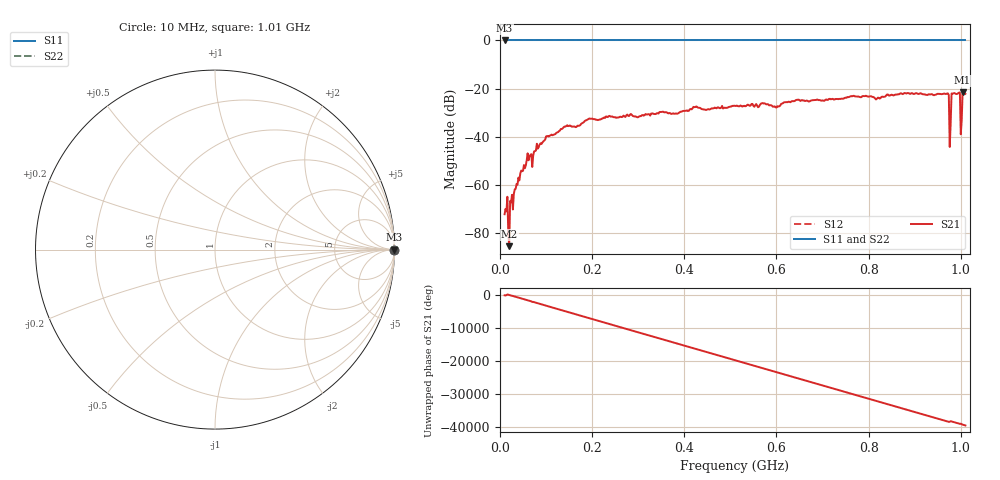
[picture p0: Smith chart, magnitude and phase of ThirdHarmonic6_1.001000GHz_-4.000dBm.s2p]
! 8/16/2025 8:04:48 AM
! C:\ANRITSUVNA\TEMP\TEMP.S2P
! CHANNEL.1
! TR.MEASUREMENT
! RAW.DATA
! RF.CORRECTION.OFF
! AVERAGING.OFF
! IF.BANDWIDTH: 5KHZ
! SWEEPTYPE:  FREQ.SWEEP(Linear)
! Reference Plane Port Info
! PORT:  PORT1  PORT2
! DISTANCE:  0  m  0  m
! TIME:  0  s  0  s
! PHASE.OFFSET:  0  deg.  0  deg.
! LOSS:  0  dB  0  dB
! REF.LOSS:  0  dB  0  dB
! REF.FREQ:  0  Hz  0  Hz
! Power Info
! POWER:  -20  dBm  -20  dBm
! EFF.POWER:  -20  dBm  -20  dBm
! SOURCE.ATTEN:  0  dB  0  dB
! TEST.ATTEN:  0  dB  0  dB
# GHZ S RI R 50.0
! FREQ.GHZ  S11RE  S11IM  S21RE  S21IM  S12RE  S12IM  S22RE  S22IM
!; PortSelection: Port_12
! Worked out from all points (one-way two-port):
!   501 points, 10 MHz to 1.01 GHz, reference 50 ohm
!   highest |S21| = -21.54 dB at 1.004 GHz (marker M1); lowest = -85.3 dB at 20 MHz (marker M2)
!   lowest |S11| = 0.0 dB at 10 MHz (marker M3)
!   |S11| at or under -10 dB: nowhere
!   |S22| runs from 0.0 to 0.0 dB; largest |S21 - S12| = 1.1
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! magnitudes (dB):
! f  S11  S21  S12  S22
! 10 MHz  0.0  -72.1  0.0  0.0
! 20 MHz  0.0  -85.3  0.0  0.0
! 36 MHz  0.0  -59.5  0.0  0.0
! 64 MHz  0.0  -48.1  0.0  0.0
! 74 MHz  0.0  -46.0  0.0  0.0
! 104 MHz  0.0  -39.6  0.0  0.0
! 178 MHz  0.0  -34.3  0.0  0.0
! 344 MHz  0.0  -30.3  0.0  0.0
! 510 MHz  0.0  -27.2  0.0  0.0
! 678 MHz  0.0  -24.8  0.0  0.0
! 844 MHz  0.0  -22.9  0.0  0.0
! 968 MHz  0.0  -22.2  0.0  0.0
! 970 MHz  0.0  -22.0  0.0  0.0
! 974 MHz  0.0  -22.6  0.0  0.0
! 978 MHz  0.0  -34.7  0.0  0.0
! 980 MHz  0.0  -22.0  0.0  0.0
! 984 MHz  0.0  -21.9  0.0  0.0
! 994 MHz  0.0  -21.9  0.0  0.0
! 998 MHz  0.0  -21.6  0.0  0.0
! 1.004 GHz  0.0  -21.5  0.0  0.0
! 1.008 GHz  0.0  -21.8  0.0  0.0
! 1.01 GHz  0.0  -22.1  0.0  0.0
